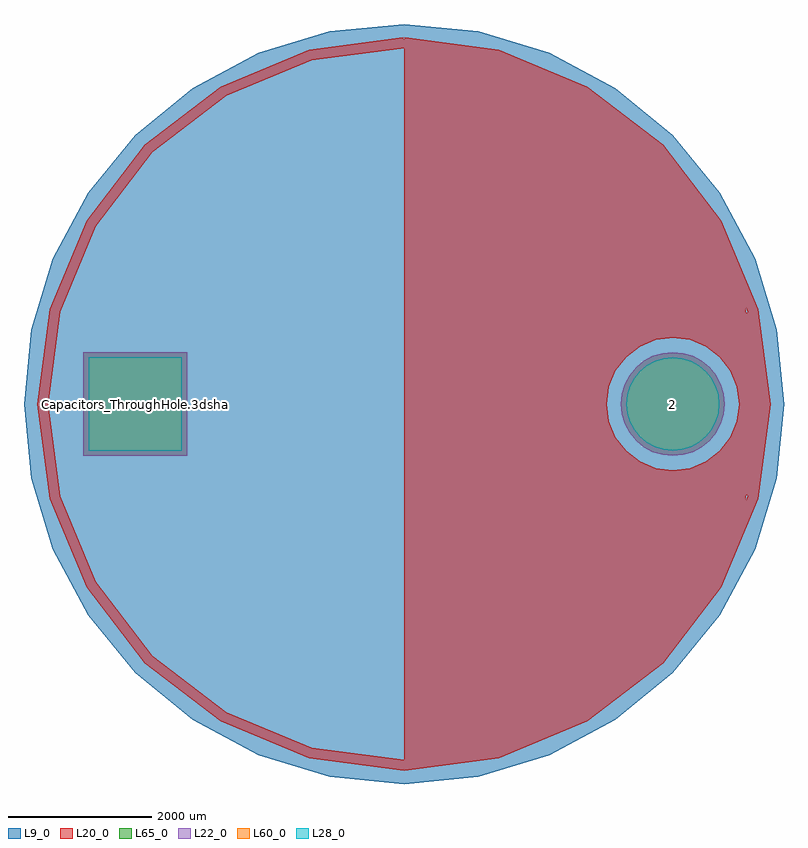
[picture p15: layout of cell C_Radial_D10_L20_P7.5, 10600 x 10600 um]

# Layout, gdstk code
import gdstk
lib = gdstk.Library(unit=1e-6, precision=1e-09)
def R(c, l, rs):  # rectangles x0, y0, x1, y1
    for r in rs: c.add(gdstk.rectangle(r[:2], r[2:], *l))
def P(c, l, *ps):  # polygons
    for p in ps: c.add(gdstk.Polygon(p, *l))
L9_0 = (9, 0)
L20_0 = (20, 0)
L22_0 = (22, 0)
L28_0 = (28, 0)
L60_0 = (60, 0)
L65_0 = (65, 0)

c_radial_d10_l20_p7_5 = lib.new_cell('C_Radial_D10_L20_P7.5')
P(c_radial_d10_l20_p7_5, L9_0, [(9050,0),(8948.162,1033.979),(8646.562,2028.222),(8156.789,2944.522),(7497.666,3747.666),(6694.522,4406.789),(5778.222,4896.562),(4783.979,5198.162),(3750,5300),(2716.021,5198.162),(1721.778,4896.562),(805.478,4406.789),(2.334,3747.666),(-656.789,2944.522),(-1146.562,2028.222),(-1448.162,1033.979),(-1550,0),(-1448.162,-1033.979),(-1146.562,-2028.222),(-656.789,-2944.522),(2.334,-3747.666),(805.478,-4406.789),(1721.778,-4896.562),(2716.021,-5198.162),(3750,-5300),(4783.979,-5198.162),(5778.222,-4896.562),(6694.522,-4406.789),(7497.666,-3747.666),(8156.789,-2944.522),(8646.562,-2028.222),(8948.162,-1033.979)])
R(c_radial_d10_l20_p7_5, L22_0, [(-725,-725,725,725)])
P(c_radial_d10_l20_p7_5, L22_0, [(8225,0),(8211.069,141.44),(8169.813,277.445),(8102.815,402.788),(8012.652,512.652),(7902.788,602.815),(7777.445,669.813),(7641.44,711.069),(7500,725),(7358.56,711.069),(7222.555,669.813),(7097.212,602.815),(6987.348,512.652),(6897.185,402.788),(6830.187,277.445),(6788.931,141.44),(6775,0),(6788.931,-141.44),(6830.187,-277.445),(6897.185,-402.788),(6987.348,-512.652),(7097.212,-602.815),(7222.555,-669.813),(7358.56,-711.069),(7500,-725),(7641.44,-711.069),(7777.445,-669.813),(7902.788,-602.815),(8012.652,-512.652),(8102.815,-402.788),(8169.813,-277.445),(8211.069,-141.44)])
R(c_radial_d10_l20_p7_5, L28_0, [(-650,-650,650,650)])
P(c_radial_d10_l20_p7_5, L28_0, [(8150,0),(8137.51,126.809),(8100.522,248.744),(8040.455,361.121),(7959.619,459.619),(7861.121,540.455),(7748.744,600.522),(7626.809,637.51),(7500,650),(7373.191,637.51),(7251.256,600.522),(7138.879,540.455),(7040.381,459.619),(6959.545,361.121),(6899.478,248.744),(6862.49,126.809),(6850,0),(6862.49,-126.809),(6899.478,-248.744),(6959.545,-361.121),(7040.381,-459.619),(7138.879,-540.455),(7251.256,-600.522),(7373.191,-637.51),(7500,-650),(7626.809,-637.51),(7748.744,-600.522),(7861.121,-540.455),(7959.619,-459.619),(8040.455,-361.121),(8100.522,-248.744),(8137.51,-126.809)])
R(c_radial_d10_l20_p7_5, L60_0, [(-650,-650,650,650)])
P(c_radial_d10_l20_p7_5, L60_0, [(8150,0),(8137.51,126.809),(8100.522,248.744),(8040.455,361.121),(7959.619,459.619),(7861.121,540.455),(7748.744,600.522),(7626.809,637.51),(7500,650),(7373.191,637.51),(7251.256,600.522),(7138.879,540.455),(7040.381,459.619),(6959.545,361.121),(6899.478,248.744),(6862.49,126.809),(6850,0),(6862.49,-126.809),(6899.478,-248.744),(6959.545,-361.121),(7040.381,-459.619),(7138.879,-540.455),(7251.256,-600.522),(7373.191,-637.51),(7500,-650),(7626.809,-637.51),(7748.744,-600.522),(7861.121,-540.455),(7959.619,-459.619),(8040.455,-361.121),(8100.522,-248.744),(8137.51,-126.809)])
R(c_radial_d10_l20_p7_5, L65_0, [(-725,-725,725,725)])
P(c_radial_d10_l20_p7_5, L65_0, [(8225,0),(8211.069,141.44),(8169.813,277.445),(8102.815,402.788),(8012.652,512.652),(7902.788,602.815),(7777.445,669.813),(7641.44,711.069),(7500,725),(7358.56,711.069),(7222.555,669.813),(7097.212,602.815),(6987.348,512.652),(6897.185,402.788),(6830.187,277.445),(6788.931,141.44),(6775,0),(6788.931,-141.44),(6830.187,-277.445),(6897.185,-402.788),(6987.348,-512.652),(7097.212,-602.815),(7222.555,-669.813),(7358.56,-711.069),(7500,-725),(7641.44,-711.069),(7777.445,-669.813),(7902.788,-602.815),(8012.652,-512.652),(8102.815,-402.788),(8169.813,-277.445),(8211.069,-141.44)])
c_radial_d10_l20_p7_5.add(gdstk.FlexPath([(3750,5037.5),(2446.199,4865.851),(1231.25,4362.603),(187.95,3562.05),(-612.603,2518.75),(-1115.851,1303.801),(-1287.5,0),(-1115.851,-1303.801),(-612.603,-2518.75),(187.95,-3562.05),(1231.25,-4362.603),(2446.199,-4865.851),(3750,-5037.5),(5053.801,-4865.851),(6268.75,-4362.603),(7312.05,-3562.05),(8112.603,-2518.75),(8615.851,-1303.801),(8787.5,0),(8615.851,1303.801),(8112.603,2518.75),(7312.05,3562.05),(6268.75,4362.603),(5053.801,4865.851),(3750,5037.5)], 149.998, ends="flush", simple_path=True, layer=20, datatype=0))  # L20_0
c_radial_d10_l20_p7_5.add(gdstk.FlexPath([(7500,1000),(7241.181,965.926),(7000,866.025),(6792.893,707.107),(6633.975,500),(6534.074,258.819),(6500,0),(6534.074,-258.819),(6633.975,-500),(6792.893,-707.107),(7000,-866.025),(7241.181,-965.926),(7500,-1000),(7758.819,-965.926),(8000,-866.025),(8207.107,-707.107),(8366.025,-500),(8465.926,-258.819),(8500,0),(8465.926,258.819),(8366.025,500),(8207.107,707.107),(8000,866.025),(7758.819,965.926),(7500,1000)], 149.998, ends="flush", simple_path=True, layer=20, datatype=0))  # L20_0
c_radial_d10_l20_p7_5.add(gdstk.FlexPath([(8725,499),(8725,-499)], 149.998, ends="flush", simple_path=True, layer=20, datatype=0))  # L20_0
c_radial_d10_l20_p7_5.add(gdstk.FlexPath([(8585,1274),(8585,-1274)], 149.998, ends="flush", simple_path=True, layer=20, datatype=0))  # L20_0
c_radial_d10_l20_p7_5.add(gdstk.FlexPath([(8445,-327),(8445,-1720)], 149.998, ends="flush", simple_path=True, layer=20, datatype=0))  # L20_0
c_radial_d10_l20_p7_5.add(gdstk.FlexPath([(8445,1720),(8445,327)], 149.998, ends="flush", simple_path=True, layer=20, datatype=0))  # L20_0
c_radial_d10_l20_p7_5.add(gdstk.FlexPath([(8305,-593),(8305,-2062)], 149.998, ends="flush", simple_path=True, layer=20, datatype=0))  # L20_0
c_radial_d10_l20_p7_5.add(gdstk.FlexPath([(8305,2062),(8305,593)], 149.998, ends="flush", simple_path=True, layer=20, datatype=0))  # L20_0
c_radial_d10_l20_p7_5.add(gdstk.FlexPath([(8165,-747),(8165,-2347)], 149.998, ends="flush", simple_path=True, layer=20, datatype=0))  # L20_0
c_radial_d10_l20_p7_5.add(gdstk.FlexPath([(8165,2347),(8165,747)], 149.998, ends="flush", simple_path=True, layer=20, datatype=0))  # L20_0
c_radial_d10_l20_p7_5.add(gdstk.FlexPath([(8025,-851),(8025,-2593)], 149.998, ends="flush", simple_path=True, layer=20, datatype=0))  # L20_0
c_radial_d10_l20_p7_5.add(gdstk.FlexPath([(8025,2593),(8025,851)], 149.998, ends="flush", simple_path=True, layer=20, datatype=0))  # L20_0
c_radial_d10_l20_p7_5.add(gdstk.FlexPath([(7885,-923),(7885,-2811)], 149.998, ends="flush", simple_path=True, layer=20, datatype=0))  # L20_0
c_radial_d10_l20_p7_5.add(gdstk.FlexPath([(7885,2811),(7885,923)], 149.998, ends="flush", simple_path=True, layer=20, datatype=0))  # L20_0
c_radial_d10_l20_p7_5.add(gdstk.FlexPath([(7745,-970),(7745,-3007)], 149.998, ends="flush", simple_path=True, layer=20, datatype=0))  # L20_0
c_radial_d10_l20_p7_5.add(gdstk.FlexPath([(7745,3007),(7745,970)], 149.998, ends="flush", simple_path=True, layer=20, datatype=0))  # L20_0
c_radial_d10_l20_p7_5.add(gdstk.FlexPath([(7605,-994),(7605,-3184)], 149.998, ends="flush", simple_path=True, layer=20, datatype=0))  # L20_0
c_radial_d10_l20_p7_5.add(gdstk.FlexPath([(7605,3184),(7605,994)], 149.998, ends="flush", simple_path=True, layer=20, datatype=0))  # L20_0
c_radial_d10_l20_p7_5.add(gdstk.FlexPath([(7465,-999),(7465,-3346)], 149.998, ends="flush", simple_path=True, layer=20, datatype=0))  # L20_0
c_radial_d10_l20_p7_5.add(gdstk.FlexPath([(7465,3346),(7465,999)], 149.998, ends="flush", simple_path=True, layer=20, datatype=0))  # L20_0
c_radial_d10_l20_p7_5.add(gdstk.FlexPath([(7325,-985),(7325,-3496)], 149.998, ends="flush", simple_path=True, layer=20, datatype=0))  # L20_0
c_radial_d10_l20_p7_5.add(gdstk.FlexPath([(7325,3496),(7325,985)], 149.998, ends="flush", simple_path=True, layer=20, datatype=0))  # L20_0
c_radial_d10_l20_p7_5.add(gdstk.FlexPath([(7185,-949),(7185,-3633)], 149.998, ends="flush", simple_path=True, layer=20, datatype=0))  # L20_0
c_radial_d10_l20_p7_5.add(gdstk.FlexPath([(7185,3633),(7185,949)], 149.998, ends="flush", simple_path=True, layer=20, datatype=0))  # L20_0
c_radial_d10_l20_p7_5.add(gdstk.FlexPath([(7045,-890),(7045,-3761)], 149.998, ends="flush", simple_path=True, layer=20, datatype=0))  # L20_0
c_radial_d10_l20_p7_5.add(gdstk.FlexPath([(7045,3761),(7045,890)], 149.998, ends="flush", simple_path=True, layer=20, datatype=0))  # L20_0
c_radial_d10_l20_p7_5.add(gdstk.FlexPath([(6905,-804),(6905,-3879)], 149.998, ends="flush", simple_path=True, layer=20, datatype=0))  # L20_0
c_radial_d10_l20_p7_5.add(gdstk.FlexPath([(6905,3879),(6905,804)], 149.998, ends="flush", simple_path=True, layer=20, datatype=0))  # L20_0
c_radial_d10_l20_p7_5.add(gdstk.FlexPath([(6765,-678),(6765,-3989)], 149.998, ends="flush", simple_path=True, layer=20, datatype=0))  # L20_0
c_radial_d10_l20_p7_5.add(gdstk.FlexPath([(6765,3989),(6765,678)], 149.998, ends="flush", simple_path=True, layer=20, datatype=0))  # L20_0
c_radial_d10_l20_p7_5.add(gdstk.FlexPath([(6625,-484),(6625,-4091)], 149.998, ends="flush", simple_path=True, layer=20, datatype=0))  # L20_0
c_radial_d10_l20_p7_5.add(gdstk.FlexPath([(6625,4091),(6625,484)], 149.998, ends="flush", simple_path=True, layer=20, datatype=0))  # L20_0
c_radial_d10_l20_p7_5.add(gdstk.FlexPath([(6485,4186),(6485,-4186)], 149.998, ends="flush", simple_path=True, layer=20, datatype=0))  # L20_0
c_radial_d10_l20_p7_5.add(gdstk.FlexPath([(6345,4274),(6345,-4274)], 149.998, ends="flush", simple_path=True, layer=20, datatype=0))  # L20_0
c_radial_d10_l20_p7_5.add(gdstk.FlexPath([(6205,4356),(6205,-4356)], 149.998, ends="flush", simple_path=True, layer=20, datatype=0))  # L20_0
c_radial_d10_l20_p7_5.add(gdstk.FlexPath([(6065,4432),(6065,-4432)], 149.998, ends="flush", simple_path=True, layer=20, datatype=0))  # L20_0
c_radial_d10_l20_p7_5.add(gdstk.FlexPath([(5925,4502),(5925,-4502)], 149.998, ends="flush", simple_path=True, layer=20, datatype=0))  # L20_0
c_radial_d10_l20_p7_5.add(gdstk.FlexPath([(5785,4567),(5785,-4567)], 149.998, ends="flush", simple_path=True, layer=20, datatype=0))  # L20_0
c_radial_d10_l20_p7_5.add(gdstk.FlexPath([(5645,4627),(5645,-4627)], 149.998, ends="flush", simple_path=True, layer=20, datatype=0))  # L20_0
c_radial_d10_l20_p7_5.add(gdstk.FlexPath([(5505,4682),(5505,-4682)], 149.998, ends="flush", simple_path=True, layer=20, datatype=0))  # L20_0
c_radial_d10_l20_p7_5.add(gdstk.FlexPath([(5365,4732),(5365,-4732)], 149.998, ends="flush", simple_path=True, layer=20, datatype=0))  # L20_0
c_radial_d10_l20_p7_5.add(gdstk.FlexPath([(5225,4777),(5225,-4777)], 149.998, ends="flush", simple_path=True, layer=20, datatype=0))  # L20_0
c_radial_d10_l20_p7_5.add(gdstk.FlexPath([(5085,4818),(5085,-4818)], 149.998, ends="flush", simple_path=True, layer=20, datatype=0))  # L20_0
c_radial_d10_l20_p7_5.add(gdstk.FlexPath([(4945,4855),(4945,-4855)], 149.998, ends="flush", simple_path=True, layer=20, datatype=0))  # L20_0
c_radial_d10_l20_p7_5.add(gdstk.FlexPath([(4805,4887),(4805,-4887)], 149.998, ends="flush", simple_path=True, layer=20, datatype=0))  # L20_0
c_radial_d10_l20_p7_5.add(gdstk.FlexPath([(4665,4916),(4665,-4916)], 149.998, ends="flush", simple_path=True, layer=20, datatype=0))  # L20_0
c_radial_d10_l20_p7_5.add(gdstk.FlexPath([(4525,4940),(4525,-4940)], 149.998, ends="flush", simple_path=True, layer=20, datatype=0))  # L20_0
c_radial_d10_l20_p7_5.add(gdstk.FlexPath([(4385,4960),(4385,-4960)], 149.998, ends="flush", simple_path=True, layer=20, datatype=0))  # L20_0
c_radial_d10_l20_p7_5.add(gdstk.FlexPath([(4245,4975),(4245,-4975)], 149.998, ends="flush", simple_path=True, layer=20, datatype=0))  # L20_0
c_radial_d10_l20_p7_5.add(gdstk.FlexPath([(4105,4987),(4105,-4987)], 149.998, ends="flush", simple_path=True, layer=20, datatype=0))  # L20_0
c_radial_d10_l20_p7_5.add(gdstk.FlexPath([(3965,4995),(3965,-4995)], 149.998, ends="flush", simple_path=True, layer=20, datatype=0))  # L20_0
c_radial_d10_l20_p7_5.add(gdstk.FlexPath([(3825,4999),(3825,-4999)], 149.998, ends="flush", simple_path=True, layer=20, datatype=0))  # L20_0
c_radial_d10_l20_p7_5.add(gdstk.Label('Capacitors_ThroughHole.3dshapes/C_Radial_D10_L20_P7.5.wrl', (0,0), layer=12, texttype=0))
c_radial_d10_l20_p7_5.add(gdstk.Label('2', (7500,0), layer=28, texttype=0))
c_radial_d10_l20_p7_5.add(gdstk.Label('1', (0,0), layer=28, texttype=0))
c_radial_d10_l20_p7_5.add(gdstk.Label('type', (3750,-6300), layer=9, texttype=0))
c_radial_d10_l20_p7_5.add(gdstk.Label('devicename', (3750,6300), layer=9, texttype=0))

lib.write_gds('C_Radial_D10_L20_P7.5.gds')
